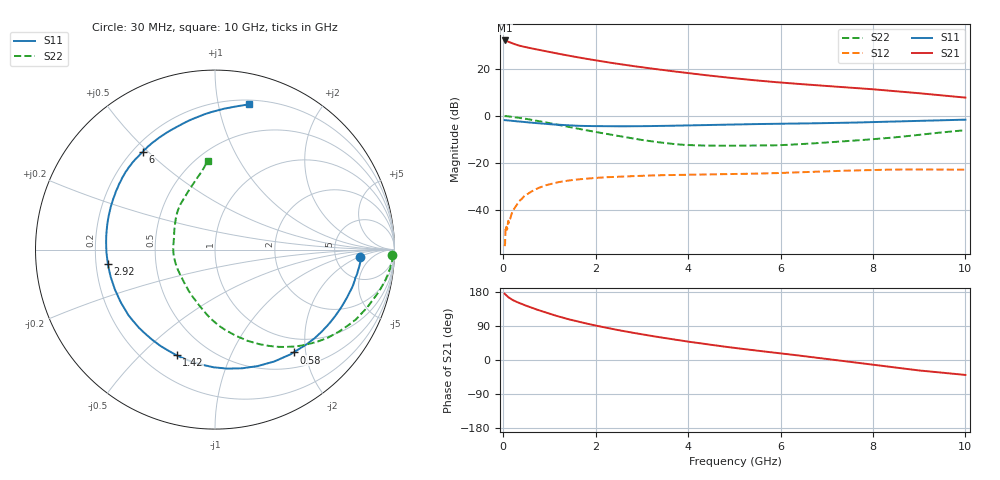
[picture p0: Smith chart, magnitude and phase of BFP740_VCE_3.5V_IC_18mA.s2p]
! Infineon Technologies  Discrete & RF Semiconductors
! BFP740
! VCE =  3.5 V,  IC =  18 mA
! Common Emitter S-Parameters:  Jan 2016
# GHz  S  MA  R  50
!  f  S11  S21  S12  S22
! GHz  MAG  ANG  MAG  ANG  MAG  ANG  MAG  ANG
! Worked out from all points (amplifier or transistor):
!   229 points, 30 MHz to 10 GHz, reference 50 ohm
!   highest |S21| = 32.0 dB at 30 MHz (marker M1)
!   |S21| within 3 dB of that: start of sweep to 524.9 MHz
!   unconditionally stable (mu >= 1): 6.658 GHz to end of sweep
!   at 280 MHz: K = 0.24, MSG = 34.2 dB, |S12| = -38.2 dB
!   at 1.78 GHz: K = 0.42, MSG = 25.5 dB, |S12| = -26.7 dB
!   at 10 GHz: K = 1.02, MAG = 14.4 dB, |S12| = -22.9 dB
!   S11 on the Smith chart (normalised r, x): 30 MHz: 9.04, -2.16; 580 MHz: 0.75, -1.78; 1.42 GHz: 0.33, -0.65; 2.92 GHz: 0.25, -0.06; 6 GHz: 0.24, +0.48; 10 GHz: 0.24, +1.23
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0.03  0.8107 -2.9  40.03 175.0  0.0017 84.4  0.9871 -1.7
0.05  0.8119 -5.1  39.83 172.7  0.0039 91.2  0.9897 -3.4
0.06  0.8101 -6.3  39.49 171.2  0.0036 99.1  0.9874 -4.0
0.11  0.7972 -11.5  37.86 165.8  0.0059 84.5  0.9746 -7.7
0.155  0.7914 -15.9  36.18 161.9  0.0068 78.7  0.9617 -10.6
0.2  0.7822 -20.1  34.73 158.6  0.0092 80.8  0.9487 -13.2
0.36  0.7559 -34.1  30.85 149.8  0.0159 71.8  0.9017 -21.7
0.58  0.721 -52.6  27.59 139.5  0.0236 63.3  0.8354 -32.3
0.8  0.6912 -69.8  24.97 130.0  0.0303 55.0  0.7657 -42.2
0.92  0.6752 -78.5  23.69 125.1  0.0334 51.5  0.7262 -47.2
1.18  0.6461 -95.8  21.06 115.4  0.0388 44.3  0.646 -57.0
1.42  0.6264 -110.0  19 107.4  0.0423 38.9  0.5817 -64.9
1.7  0.6123 -124.7  16.95 99.1  0.0455 33.7  0.5152 -73.3
2.22  0.6021 -147.9  13.95 85.2  0.0495 26.0  0.4169 -88.2
2.92  0.6024 -172.6  11.06 69.5  0.0528 19.0  0.3165 -107.4
3.4  0.6106 173.0  9.579 59.8  0.0547 15.2  0.2722 -122.7
4.3  0.6363 151.3  7.483 43.2  0.0568 9.7  0.2342 -154.0
5.1  0.6612 137.6  6.151 30.5  0.0582 6.2  0.2323 -176.4
6  0.6773 126.4  5.108 17.5  0.0612 3.6  0.2384 163.4
6.8  0.6964 116.8  4.456 6.0  0.0654 0.0  0.2631 147.9
8.4  0.7564 94.4  3.409 -18.6  0.0719 -10.1  0.3437 118.2
10  0.8303 76.9  2.442 -39.4  0.0716 -19.0  0.4954 94.7
